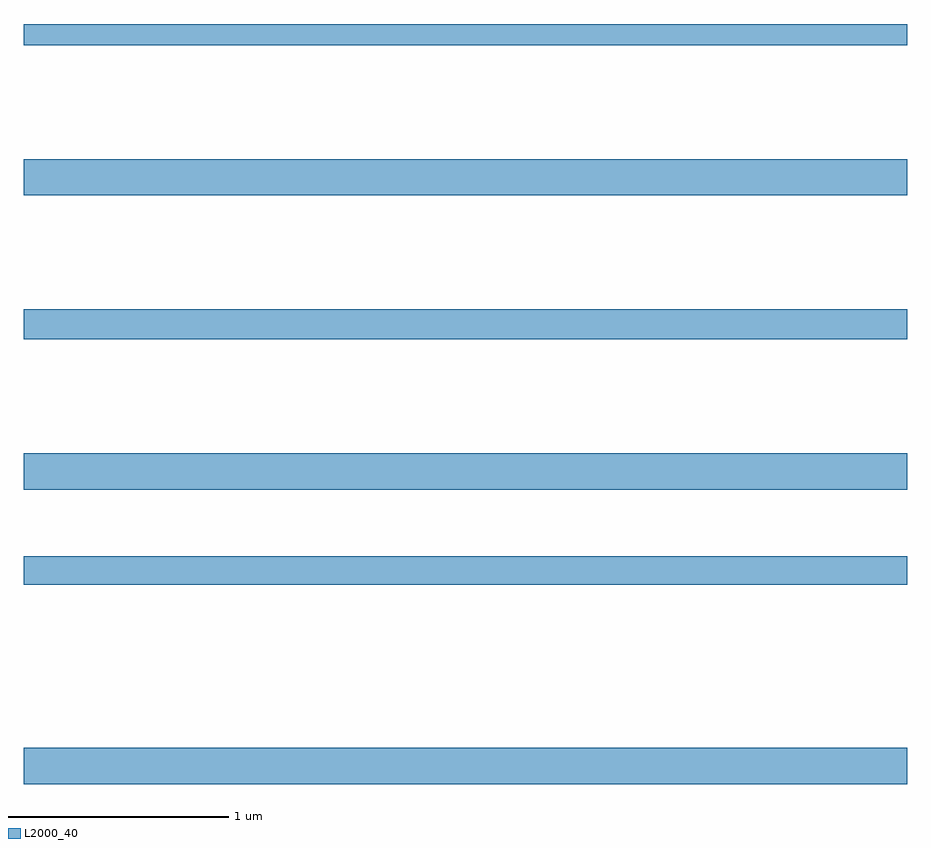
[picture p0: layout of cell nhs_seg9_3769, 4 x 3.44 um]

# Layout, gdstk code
import gdstk
lib = gdstk.Library(unit=1e-6, precision=1e-09)
def R(c, l, rs):  # rectangles x0, y0, x1, y1
    for r in rs: c.add(gdstk.rectangle(r[:2], r[2:], *l))
def A(c, l, x, y, w, h, nx, ny, dx, dy):  # array of equal rectangles
    R(c, l, [(x+i*dx, y+j*dy, x+i*dx+w, y+j*dy+h) for i in range(nx) for j in range(ny)])
L2000_40 = (2000, 40)

nhs_seg9_3769 = lib.new_cell('nhs_seg9_3769')
A(nhs_seg9_3769, L2000_40, 325, 1223.06, 4, 0.164, 1, 3, 0, 1.332)
R(nhs_seg9_3769, L2000_40, [(325,1223.962,329,1224.091), (325,1225.072,329,1225.208), (325,1226.404,329,1226.5)])

lib.write_gds('nhs_seg9_3769.gds')
